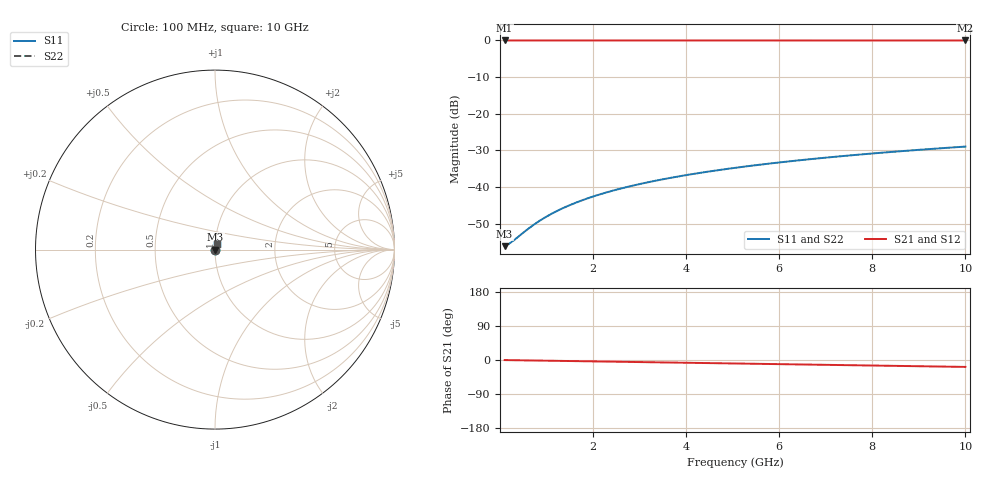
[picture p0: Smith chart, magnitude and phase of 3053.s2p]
# Hz S RI R 50.00
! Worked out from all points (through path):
!   100 points, 100 MHz to 10 GHz, reference 50 ohm
!   highest |S21| = -0.01 dB at 100 MHz (marker M1); lowest = 0.0 dB at 10 GHz (marker M2)
!   group delay of S21, straight-line fit = 5.07 ps
!   lowest |S11| = -56.2 dB at 100 MHz (marker M3), VSWR 1.00, Z = 50.2 + j0.0358 ohm
!   |S11| at or under -10 dB: start of sweep to end of sweep
!   |S22| runs from -56.2 to -29.0 dB; largest |S21 - S12| = 0
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1e8  0.00151 0.000357  0.9985 -0.00317  0.9985 -0.00317  0.00151 0.000357
2e8  0.00153 0.000714  0.9985 -0.00633  0.9985 -0.00633  0.00153 0.000714
3e8  0.00154 0.00107  0.9984 -0.0095  0.9984 -0.0095  0.00154 0.00107
5e8  0.00156 0.00179  0.9983 -0.0158  0.9983 -0.0158  0.00156 0.00179
7e8  0.0016 0.0025  0.9982 -0.0222  0.9982 -0.0222  0.0016 0.0025
8e8  0.00162 0.00285  0.9981 -0.0253  0.9981 -0.0253  0.00162 0.00285
1e9  0.00166 0.00357  0.9979 -0.0317  0.9979 -0.0317  0.00166 0.00357
1.2e9  0.00172 0.00428  0.9977 -0.038  0.9977 -0.038  0.00172 0.00428
1.4e9  0.00178 0.00499  0.9974 -0.0443  0.9974 -0.0443  0.00178 0.00499
1.6e9  0.00185 0.0057  0.9971 -0.0507  0.9971 -0.0507  0.00185 0.0057
1.8e9  0.00193 0.00641  0.9967 -0.057  0.9967 -0.057  0.00193 0.00641
2.1e9  0.00206 0.00747  0.9961 -0.0665  0.9961 -0.0665  0.00206 0.00747
2.5e9  0.00228 0.00888  0.9952 -0.0791  0.9952 -0.0791  0.00228 0.00888
2.9e9  0.00252 0.0103  0.9941 -0.0918  0.9941 -0.0918  0.00252 0.0103
3.4e9  0.00288 0.012  0.9924 -0.1076  0.9924 -0.1076  0.00288 0.012
4.2e9  0.00357 0.0148  0.9893 -0.1328  0.9893 -0.1328  0.00357 0.0148
5.1e9  0.00451 0.0178  0.985 -0.1611  0.985 -0.1611  0.00451 0.0178
5.9e9  0.00549 0.0205  0.9805 -0.1861  0.9805 -0.1861  0.00549 0.0205
6.7e9  0.00661 0.0231  0.9754 -0.2111  0.9754 -0.2111  0.00661 0.0231
7.5e9  0.00787 0.0257  0.9696 -0.2359  0.9696 -0.2359  0.00787 0.0257
8.4e9  0.00943 0.0285  0.9623 -0.2637  0.9623 -0.2637  0.00943 0.0285
1e10  0.0126 0.0332  0.9473 -0.3126  0.9473 -0.3126  0.0126 0.0332
